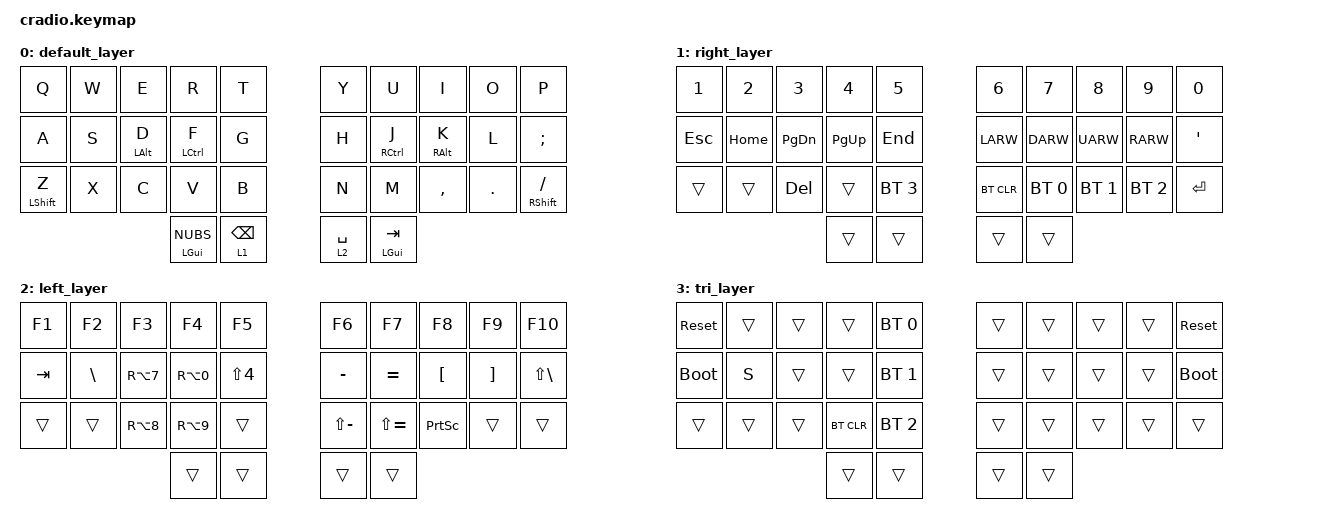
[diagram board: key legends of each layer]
// Copyright (c) 2022 The ZMK Contributors
// SPDX-License-Identifier: MIT

#include <behaviors.dtsi>
#include <dt-bindings/zmk/keys.h>
#include <dt-bindings/zmk/bt.h>

// Home row mods macro
#define HRML(k1,k2,k3,k4) &ht LSHFT k1  &ht LALT k2  &ht LCTRL k3  &ht LGUI k4
#define HRMR(k1,k2,k3,k4) &ht RGUI k1  &ht RCTRL k2  &ht RALT k3  &ht RSHFT k4

&lt {
    tapping-term-ms = <200>;
    quick-tap-ms = <200>;
    flavor = "tap-preferred";
    #binding-cells = <2>;
};


/ {

    conditional_layers {
        compatible = "zmk,conditional-layers";
        tri_layer {
            if-layers = <1 2>;
            then-layer = <3>;
        };
    };

    macros {
        one: one {
            compatible = "zmk,behavior-macro";
            #binding-cells = <0>;
            bindings = <&macro_tap &kp RALT &kp N7>;
        };

        two: two {
            compatible = "zmk,behavior-macro";
            #binding-cells = <0>;
            bindings = <&macro_tap &kp RALT &kp N0>;
        };

        three: three {
            compatible = "zmk,behavior-macro";
            #binding-cells = <0>;
            bindings = <&macro_tap &kp RALT &kp N8>;
        };

        four: four {
            compatible = "zmk,behavior-macro";
            #binding-cells = <0>;
            bindings = <&macro_tap &kp RALT &kp N9>;
        };
    };

    behaviors {
        ht: hold_tap {
            compatible = "zmk,behavior-hold-tap";
            #binding-cells = <2>;
            flavor = "tap-preferred";
            tapping-term-ms = <200>;
            quick-tap-ms = <200>;
            require-prior-idle-ms = <100>;
            bindings = <&kp>, <&kp>;
        };
        lt: layer_tap {
            tapping-term-ms = <200>;
            quick-tap-ms = <200>;
            flavor = "tap-preferred";
            #binding-cells = <2>;
        };
        md: mod_tap {
            tapping-term-ms = <200>;
            quick-tap-ms = <200>;
            flavor = "tap-preferred";
            #binding-cells = <2>;
        };
    };

    keymap {
        compatible = "zmk,keymap";
        default_layer {
            bindings = <
        //╭──────────┬──────────┬──────────┬──────────┬──────────╮   ╭──────────┬──────────┬──────────┬──────────┬──────────╮
        //│  Q       │  W       │  E       │  R       │  T       │   │  Y       │  U       │  I       │  O       │  P       │
            &kp Q      &kp W      &kp E      &kp R      &kp T          &kp Y      &kp U      &kp I      &kp O      &kp P
        //├──────────┼──────────┼──────────┼──────────┼──────────┤   ├──────────┼──────────┼──────────┼──────────┼──────────┤
        //│  A       │  S       │  D       │  F       │  G       │   │  H       │  J       │  K       │  L       │ ' "      │
            &kp A      &kp S     &mt LALT D &mt LCTRL F &kp G          &kp H     &mt RCTRL J &mt RALT K &kp L     &kp SEMI 
        //├──────────┼──────────┼──────────┼──────────┼──────────┤   ├──────────┼──────────┼──────────┼──────────┼──────────┤
        //│  Z       │  X       │  C       │  V       │  B       │   │  N       │  M       │ , <      │ . >      │ / ?      │
           &mt LSHFT Z  &kp X      &kp C      &kp V      &kp B          &kp N      &kp M      &kp COMMA  &kp DOT  &mt RSHFT FSLH
        //╰──────────┴──────────┴──────────┼──────────┼──────────┤   ├──────────┼──────────┼──────────┴──────────┴──────────╯
                                           &mt LGUI NUBS &lt 1 BSPC   &lt 2 SPACE  &mt LGUI TAB
        //                                 ╰──────────┴──────────╯   ╰──────────┴──────────╯
            >;
        };

        right_layer {
            bindings = <
        //╭──────────┬──────────┬──────────┬──────────┬──────────╮   ╭──────────┬──────────┬──────────┬──────────┬──────────╮
        //│ INSERT   │  1       │  2       │  3       │          │   │ HOME     │ PAGE DN  │ PAGE UP  │ END      │  :       │
            &kp N1     &kp N2     &kp N3     &kp N4     &kp N5         &kp N6    &kp N7     &kp N8     &kp N9    &kp N0
        //├──────────┼──────────┼──────────┼──────────┼──────────┤   ├──────────┼──────────┼──────────┼──────────┼──────────┤
        //│ DELETE   │  4       │  5       │  6       │          │   │ LEFT     │ DOWN     │ UP       │ RIGHT    │  ;       │
            &kp ESC    &kp HOME   &kp PG_DN   &kp PG_UP &kp END         &kp LARW   &kp DARW   &kp UARW   &kp RARW   &kp SINGLE_QUOTE
        //├──────────┼──────────┼──────────┼──────────┼──────────┤   ├──────────┼──────────┼──────────┼──────────┼──────────┤
        //│ CAPS     │  7       │  8       │  9       │  0       │   │          │          │          │          │          │
           &trans      &trans     &kp DEL     &trans   &bt BT_SEL 3    &bt BT_CLR &bt BT_SEL 0 &bt BT_SEL 1 &bt BT_SEL 2 &kp ENTER
        //╰──────────┴──────────┴──────────┼──────────┼──────────┤   ├──────────┼──────────┼──────────┴──────────┴──────────╯
                                             &trans     &trans         &trans     &trans
        //                                 ╰──────────┴──────────╯   ╰──────────┴──────────╯
            >;
        };

        left_layer {
            bindings = <
        //╭──────────┬──────────┬──────────┬──────────┬──────────╮   ╭──────────┬──────────┬──────────┬──────────┬──────────╮
        //│          │  [       │  {       │  }       │          │   │  ^       │  (       │  )       │  ]       │  ~       │
            &kp F1     &kp F2     &kp F3     &kp F4     &kp F5         &kp F6     &kp F7     &kp F8     &kp F9    &kp F10
        //├──────────┼──────────┼──────────┼──────────┼──────────┤   ├──────────┼──────────┼──────────┼──────────┼──────────┤
        //│  !       │  @       │  #       │  $       │  %       │   │  *       │  -       │  =       │  \       │  `       │
            &kp TAB    &kp BSLH   &kp RA(N7) &kp RA(N0) &kp LS(NUMBER_4)   &kp MINUS  &kp EQUAL  &kp LBKT  &kp RBKT   &kp LS(BSLH)
        //├──────────┼──────────┼──────────┼──────────┼──────────┤   ├──────────┼──────────┼──────────┼──────────┼──────────┤
        //│          │          │          │          │          │   │  &       │  _       │  +       │  │       │          │
            &trans     &trans     &kp RA(N8) &kp RA(N9) &trans         &kp LS(MINUS) &kp LS(EQUAL) &kp PSCRN &trans   &trans
        //╰──────────┴──────────┴──────────┼──────────┼──────────┤   ├──────────┼──────────┼──────────┴──────────┴──────────╯
                                             &trans     &trans         &trans     &trans
        //                                 ╰──────────┴──────────╯   ╰──────────┴──────────╯
            >;
        };

        tri_layer {
            bindings = <
        //╭──────────┬──────────┬──────────┬──────────┬──────────╮   ╭──────────┬──────────┬──────────┬──────────┬──────────╮
        //│ RESET    │          │          │          │PROFILE 0 │   │          │          │          │          │  RESET   │
           &sys_reset  &trans     &trans     &trans    &bt BT_SEL 0    &trans     &trans     &trans     &trans    &sys_reset
        //├──────────┼──────────┼──────────┼──────────┼──────────┤   ├──────────┼──────────┼──────────┼──────────┼──────────┤
        //│BOOTLOADER│          │          │          │PROFILE 1 │   │          │          │          │          │BOOTLOADER│
          &bootloader  &kp S     &trans     &trans    &bt BT_SEL 1    &trans     &trans     &trans     &trans    &bootloader
        //├──────────┼──────────┼──────────┼──────────┼──────────┤   ├──────────┼──────────┼──────────┼──────────┼──────────┤
        //│          │          │          │ CLEAR BT │PROFILE 2 │   │          │          │          │          │          │
            &trans     &trans     &trans    &bt BT_CLR &bt BT_SEL 2    &trans     &trans     &trans     &trans     &trans
        //╰──────────┴──────────┴──────────┼──────────┼──────────┤   ├──────────┼──────────┼──────────┴──────────┴──────────╯
                                             &trans     &trans         &trans     &trans
        //                                 ╰──────────┴──────────╯   ╰──────────┴──────────╯
            >;
        };
    };
};
